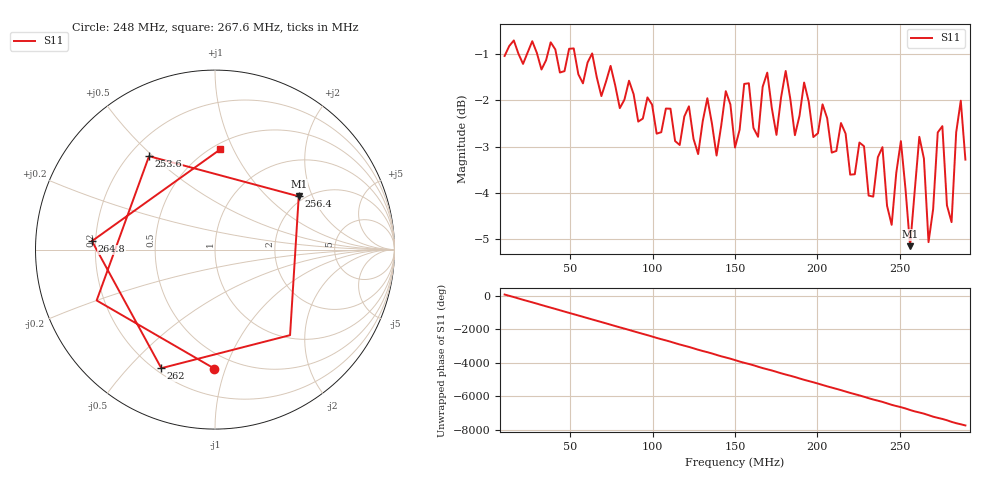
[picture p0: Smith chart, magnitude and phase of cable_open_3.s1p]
! File created by NanoVNA (https://gen111.taobao.com/)
! Start 10000000Hz  Stop 290000000Hz  Points 101
# HZ S MA R 50
!S - Parameter data, F S11
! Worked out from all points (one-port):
!   101 points, 10 MHz to 290 MHz, reference 50 ohm
!   lowest |S11| = -5.1 dB at 256.4 MHz (marker M1), VSWR 3.47, Z = 93.2 + j79.6 ohm
!   |S11| at or under -10 dB: nowhere
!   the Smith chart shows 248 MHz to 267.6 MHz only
!   S11 on the Smith chart (normalised r, x): 248 MHz: 0.39, -0.92; 253.6 MHz: 0.28, +0.49; 256.4 MHz: 1.86, +1.59; 262 MHz: 0.22, -0.62; 264.8 MHz: 0.19, +0.03; 267.6 MHz: 0.55, +0.89
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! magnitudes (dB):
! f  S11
! 10 MHz  -1.0
! 46.4 MHz  -1.4
! 80 MHz  -2.2
! 116.4 MHz  -3.0
! 133.2 MHz  -2.0
! 138.8 MHz  -3.2
! 144.4 MHz  -1.8
! 150 MHz  -3.0
! 155.6 MHz  -1.6
! 164 MHz  -2.8
! 169.6 MHz  -1.4
! 175.2 MHz  -2.7
! 180.8 MHz  -1.4
! 186.4 MHz  -2.8
! 192 MHz  -1.6
! 220 MHz  -3.6
! 239.6 MHz  -3.0
! 245.2 MHz  -4.7
! 248 MHz  -3.6
! 253.6 MHz  -3.9
! 256.4 MHz  -5.1
! 262 MHz  -2.8
! 264.8 MHz  -3.3
! 267.6 MHz  -5.1
! 273.2 MHz  -2.7
! 281.6 MHz  -4.6
! 287.2 MHz  -2.0
! 290 MHz  -3.3
